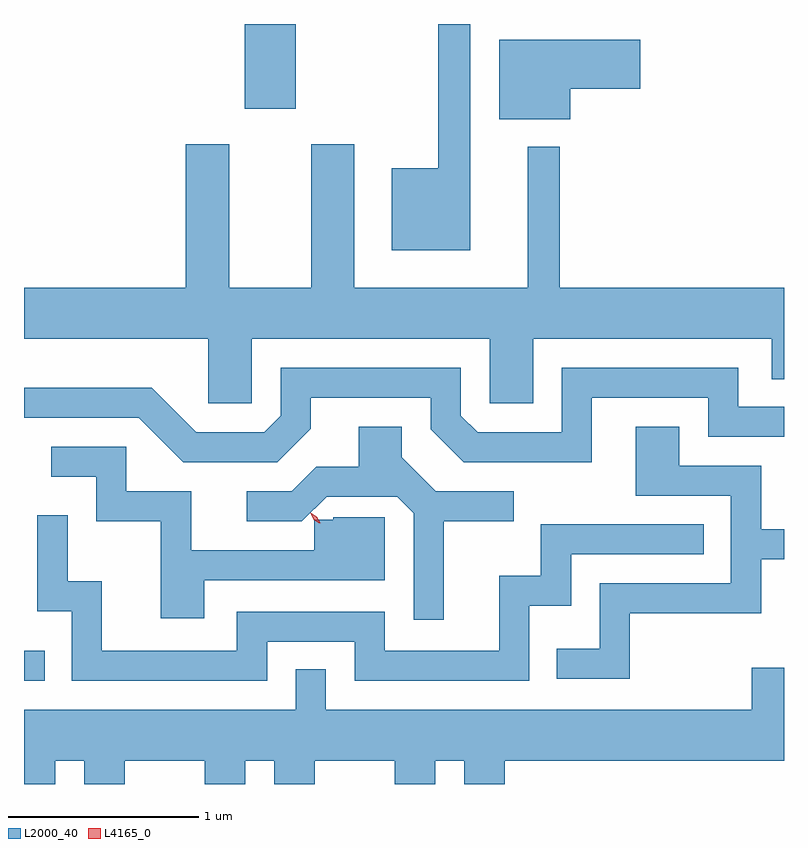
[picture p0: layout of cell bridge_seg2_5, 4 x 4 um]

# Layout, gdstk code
import gdstk
lib = gdstk.Library(unit=1e-6, precision=1e-09)
def R(c, l, rs):  # rectangles x0, y0, x1, y1
    for r in rs: c.add(gdstk.rectangle(r[:2], r[2:], *l))
def P(c, l, *ps):  # polygons
    for p in ps: c.add(gdstk.Polygon(p, *l))
L2000_40 = (2000, 40)
L4165_0 = (4165, 0)

bridge_seg2_5 = lib.new_cell('bridge_seg2_5')
R(bridge_seg2_5, L2000_40, [(1906.11,1073.156,1906.218,1073.314), (1907.271,1076.166,1907.539,1076.613)])
P(bridge_seg2_5, L2000_40, [(1908.459,1076.613),(1908.291,1076.613),(1908.291,1075.854),(1908.046,1075.854),(1908.046,1075.421),(1908.459,1075.421)],
  [(1908.984,1076.271),(1909.354,1076.271),(1909.354,1076.529),(1908.611,1076.529),(1908.611,1076.111),(1908.984,1076.111)],
  [(1907.309,1074.956),(1908.561,1074.956),(1908.561,1074.616),(1908.789,1074.616),(1908.789,1074.956),(1910.046,1074.956),(1910.046,1074.743),(1910.11,1074.743),(1910.11,1075.224),(1908.929,1075.224),(1908.929,1075.968),(1908.761,1075.968),(1908.761,1075.224),(1907.849,1075.224),(1907.849,1075.979),(1907.621,1075.979),(1907.621,1075.224),(1907.189,1075.224),(1907.189,1075.979),(1906.961,1075.979),(1906.961,1075.224),(1906.11,1075.224),(1906.11,1074.956),(1907.081,1074.956),(1907.081,1074.616),(1907.309,1074.616)],
  [(1907.619,1074.484),(1907.619,1074.646),(1908.251,1074.646),(1908.251,1074.479),(1908.424,1074.306),(1909.099,1074.306),(1909.099,1074.646),(1909.711,1074.646),(1909.711,1074.441),(1910.11,1074.441),(1910.11,1074.599),(1909.869,1074.599),(1909.869,1074.804),(1908.941,1074.804),(1908.941,1074.464),(1908.497,1074.464),(1908.409,1074.552),(1908.409,1074.804),(1907.461,1074.804),(1907.461,1074.552),(1907.374,1074.464),(1907.017,1074.464),(1906.782,1074.699),(1906.11,1074.699),(1906.11,1074.541),(1906.714,1074.541),(1906.949,1074.306),(1907.442,1074.306)],
  [(1909.299,1073.511),(1909.989,1073.511),(1909.989,1073.796),(1910.11,1073.796),(1910.11,1073.954),(1909.989,1073.954),(1909.989,1074.289),(1909.559,1074.289),(1909.559,1074.494),(1909.331,1074.494),(1909.331,1074.131),(1909.831,1074.131),(1909.831,1073.669),(1909.141,1073.669),(1909.141,1073.324),(1908.913,1073.324),(1908.913,1073.166),(1909.299,1073.166)],
  [(1908.319,1073.996),(1908.688,1073.996),(1908.688,1074.154),(1908.277,1074.154),(1908.099,1074.332),(1908.099,1074.494),(1907.871,1074.494),(1907.871,1074.284),(1907.649,1074.284),(1907.519,1074.154),(1907.283,1074.154),(1907.283,1073.996),(1907.573,1073.996),(1907.703,1074.126),(1908.074,1074.126),(1908.161,1074.039),(1908.161,1073.478),(1908.319,1073.478)],
  [(1907.059,1073.686),(1908.009,1073.686),(1908.009,1074.017),(1907.738,1074.017),(1907.738,1074.004),(1907.638,1074.004),(1907.638,1073.844),(1906.989,1073.844),(1906.989,1074.154),(1906.649,1074.154),(1906.649,1074.389),(1906.253,1074.389),(1906.253,1074.231),(1906.491,1074.231),(1906.491,1073.996),(1906.831,1073.996),(1906.831,1073.486),(1907.059,1073.486)],
  [(1907.389,1073.361),(1907.851,1073.361),(1907.851,1073.156),(1908.769,1073.156),(1908.769,1073.551),(1908.989,1073.551),(1908.989,1073.821),(1909.688,1073.821),(1909.688,1073.979),(1908.831,1073.979),(1908.831,1073.709),(1908.611,1073.709),(1908.611,1073.314),(1908.009,1073.314),(1908.009,1073.519),(1907.231,1073.519),(1907.231,1073.314),(1906.519,1073.314),(1906.519,1073.679),(1906.339,1073.679),(1906.339,1074.028),(1906.181,1074.028),(1906.181,1073.521),(1906.361,1073.521),(1906.361,1073.156),(1907.389,1073.156)],
  [(1906.274,1072.736),(1906.426,1072.736),(1906.426,1072.613),(1906.639,1072.613),(1906.639,1072.736),(1907.061,1072.736),(1907.061,1072.613),(1907.274,1072.613),(1907.274,1072.736),(1907.426,1072.736),(1907.426,1072.613),(1907.639,1072.613),(1907.639,1072.736),(1908.061,1072.736),(1908.061,1072.613),(1908.274,1072.613),(1908.274,1072.736),(1908.426,1072.736),(1908.426,1072.613),(1908.639,1072.613),(1908.639,1072.736),(1910.11,1072.736),(1910.11,1073.224),(1909.941,1073.224),(1909.941,1073.004),(1907.699,1073.004),(1907.699,1073.218),(1907.541,1073.218),(1907.541,1073.004),(1906.11,1073.004),(1906.11,1072.613),(1906.274,1072.613)])
P(bridge_seg2_5, L4165_0, [(1907.669,1073.986),(1907.637,1074.006),(1907.619,1074.039),(1907.619,1074.04),(1907.619,1074.04),(1907.652,1074.02),(1907.67,1073.987),(1907.67,1073.986)],
  [(1907.664,1073.986),(1907.634,1074.004),(1907.619,1074.035),(1907.619,1074.036),(1907.619,1074.036),(1907.649,1074.018),(1907.664,1073.987),(1907.664,1073.986)])

lib.write_gds('bridge_seg2_5.gds')
